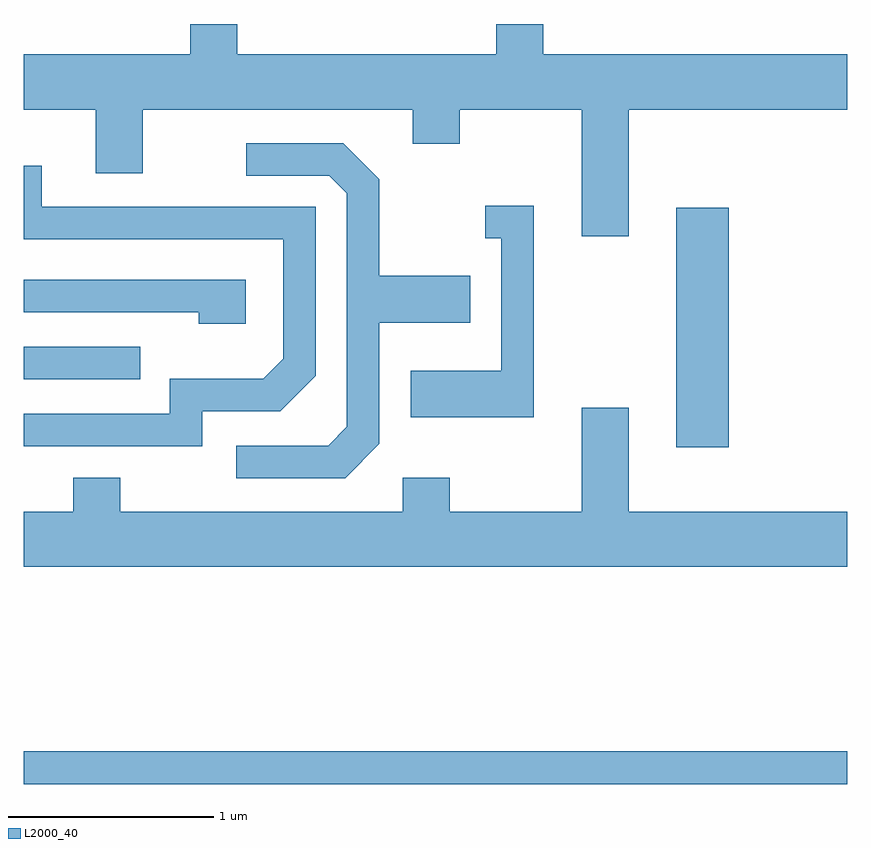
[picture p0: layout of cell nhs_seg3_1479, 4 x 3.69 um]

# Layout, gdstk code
import gdstk
lib = gdstk.Library(unit=1e-6, precision=1e-09)
def R(c, l, rs):  # rectangles x0, y0, x1, y1
    for r in rs: c.add(gdstk.rectangle(r[:2], r[2:], *l))
def P(c, l, *ps):  # polygons
    for p in ps: c.add(gdstk.Polygon(p, *l))
L2000_40 = (2000, 40)

nhs_seg3_1479 = lib.new_cell('nhs_seg3_1479')
R(nhs_seg3_1479, L2000_40, [(227.611,1218.201,231.611,1218.359), (230.781,1219.836,231.034,1220.999), (227.611,1220.166,228.178,1220.324)])
P(nhs_seg3_1479, L2000_40, [(230.549,1221.476),(231.611,1221.476),(231.611,1221.744),(230.134,1221.744),(230.134,1221.892),(229.906,1221.892),(229.906,1221.744),(228.649,1221.744),(228.649,1221.892),(228.421,1221.892),(228.421,1221.744),(227.611,1221.744),(227.611,1221.476),(227.961,1221.476),(227.961,1221.166),(228.189,1221.166),(228.189,1221.476),(229.501,1221.476),(229.501,1221.311),(229.729,1221.311),(229.729,1221.476),(230.321,1221.476),(230.321,1220.861),(230.549,1220.861)],
  [(229.339,1219.854),(229.339,1220.441),(229.779,1220.441),(229.779,1220.669),(229.339,1220.669),(229.339,1221.137),(229.162,1221.314),(228.693,1221.314),(228.693,1221.156),(229.094,1221.156),(229.181,1221.069),(229.181,1219.937),(229.089,1219.844),(228.643,1219.844),(228.643,1219.686),(229.172,1219.686)],
  [(228.479,1220.011),(228.857,1220.011),(229.029,1220.184),(229.029,1221.004),(227.699,1221.004),(227.699,1221.203),(227.611,1221.203),(227.611,1220.846),(228.871,1220.846),(228.871,1220.267),(228.774,1220.169),(228.321,1220.169),(228.321,1219.999),(227.611,1219.999),(227.611,1219.841),(228.479,1219.841)],
  [(230.089,1221.009),(229.853,1221.009),(229.853,1220.851),(229.931,1220.851),(229.931,1220.209),(229.491,1220.209),(229.491,1219.981),(230.089,1219.981)],
  [(228.689,1220.649),(227.611,1220.649),(227.611,1220.491),(228.461,1220.491),(228.461,1220.436),(228.689,1220.436)],
  [(231.611,1219.524),(230.549,1219.524),(230.549,1220.029),(230.321,1220.029),(230.321,1219.524),(229.679,1219.524),(229.679,1219.689),(229.451,1219.689),(229.451,1219.524),(228.079,1219.524),(228.079,1219.689),(227.851,1219.689),(227.851,1219.524),(227.611,1219.524),(227.611,1219.256),(231.611,1219.256)])

lib.write_gds('nhs_seg3_1479.gds')
